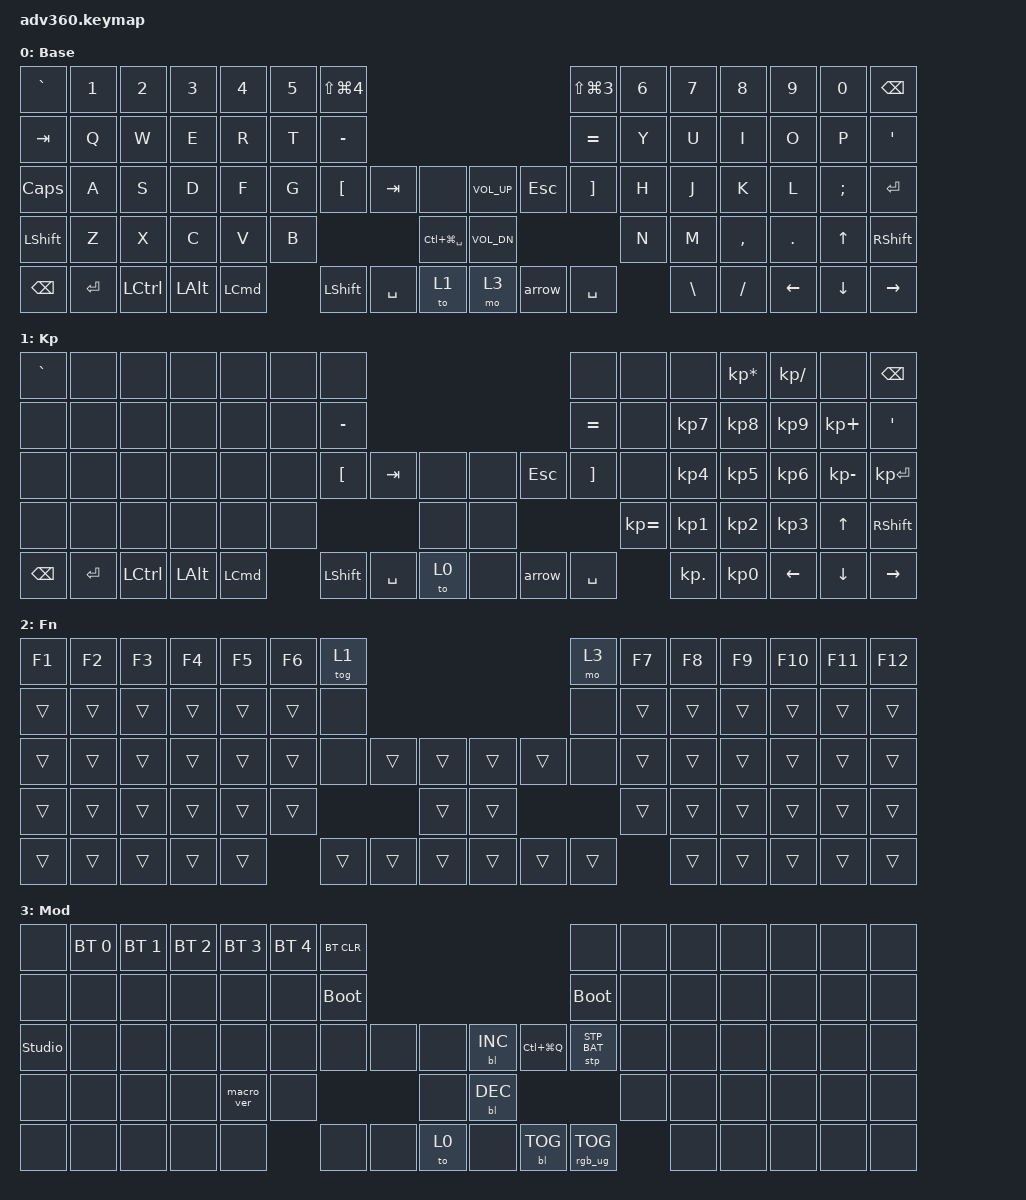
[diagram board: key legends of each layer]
#include <dt-bindings/zmk/stp.h>
#include <behaviors.dtsi>
#include <dt-bindings/zmk/backlight.h>
#include <dt-bindings/zmk/bt.h>
#include <dt-bindings/zmk/keys.h>
#include <dt-bindings/zmk/rgb.h>

/ {
    behaviors {
        #include "macros.dtsi"
      #include "version.dtsi"

        hm: homerow_mods {
            compatible = "zmk,behavior-hold-tap";
            label = "HOMEROW_MODS";
            #binding-cells = <2>;
            tapping-term-ms = <200>;
            quick_tap_ms = <175>;
            flavor = "tap-preferred";
            bindings = <&kp>, <&kp>;
        };
    };

    macros {
        arrow: new_macro {
            compatible = "zmk,behavior-macro";
            #binding-cells = <0>;
            bindings = <&kp MINUS &kp MINUS &kp GT &kp SPACE>;
            label = "NEW_MACRO";
        };
    };

    keymap {
        compatible = "zmk,keymap";

        default_layer {
            display-name = "Base";
            bindings = <
&kp GRAVE      &kp N1     &kp N2            &kp N3        &kp N4            &kp N5  &kp LS(LG(N4))                                                                &kp LS(LG(N3))     &kp N6  &kp N7         &kp N8     &kp N9    &kp N0          &kp BACKSPACE
&kp TAB        &kp Q      &kp W             &kp E         &kp R             &kp T   &kp MINUS                                                                     &kp EQUAL          &kp Y   &kp U          &kp I      &kp O     &kp P           &kp SQT
&kp CAPS       &kp A      &kp S             &kp D         &kp F             &kp G   &kp LEFT_BRACKET  &kp TAB    &none                  &kp C_VOLUME_UP  &kp ESC  &kp RIGHT_BRACKET  &kp H   &kp J          &kp K      &kp L     &kp SEMI        &kp ENTER
&kp LSHFT      &kp Z      &kp X             &kp C         &kp V             &kp B                                &kp LC(LG(SPACE))      &kp C_VOL_DN                                 &kp N   &kp M          &kp COMMA  &kp DOT   &kp UP_ARROW    &kp RSHFT
&kp BACKSPACE  &kp ENTER  &kp LEFT_CONTROL  &kp LEFT_ALT  &kp LEFT_COMMAND          &kp LEFT_SHIFT    &kp SPACE  &to 1                  &mo 3            &arrow   &kp SPACE                  &kp BACKSLASH  &kp SLASH  &kp LEFT  &kp DOWN_ARROW  &kp RIGHT
            >;
        };

        keypad {
            display-name = "Kp";
            bindings = <
&kp GRAVE      &none      &none             &none         &none             &none  &none                                                   &none              &none         &none       &kp KP_MULTIPLY  &kp KP_DIVIDE  &none         &kp BACKSPACE
&none          &none      &none             &none         &none             &none  &kp MINUS                                               &kp EQUAL          &none         &kp KP_N7   &kp KP_N8        &kp KP_N9      &kp KP_PLUS   &kp SQT
&none          &none      &none             &none         &none             &none  &kp LEFT_BRACKET  &kp TAB    &none      &none  &kp ESC  &kp RIGHT_BRACKET  &none         &kp KP_N4   &kp KP_N5        &kp KP_N6      &kp KP_MINUS  &kp KP_ENTER
&none          &none      &none             &none         &none             &none                               &none      &none                              &kp KP_EQUAL  &kp KP_N1   &kp KP_N2        &kp KP_N3      &kp UP_ARROW  &kp RSHFT
&kp BACKSPACE  &kp ENTER  &kp LEFT_CONTROL  &kp LEFT_ALT  &kp LEFT_COMMAND         &kp LEFT_SHIFT    &kp SPACE  &to 0      &none  &arrow   &kp SPACE                        &kp KP_DOT  &kp KP_NUMBER_0  &kp LEFT       &kp DOWN      &kp RIGHT
            >;
        };

        fn {
            display-name = "Fn";
            bindings = <
&kp F1  &kp F2  &kp F3  &kp F4  &kp F5  &kp F6  &tog 1                                      &mo 3   &kp F7  &kp F8  &kp F9  &kp F10  &kp F11  &kp F12
&trans  &trans  &trans  &trans  &trans  &trans  &none                                       &none   &trans  &trans  &trans  &trans   &trans   &trans
&trans  &trans  &trans  &trans  &trans  &trans  &none   &trans  &trans      &trans  &trans  &none   &trans  &trans  &trans  &trans   &trans   &trans
&trans  &trans  &trans  &trans  &trans  &trans                  &trans      &trans                  &trans  &trans  &trans  &trans   &trans   &trans
&trans  &trans  &trans  &trans  &trans          &trans  &trans  &trans      &trans  &trans  &trans          &trans  &trans  &trans   &trans   &trans
            >;
        };

        mod {
            display-name = "Mod";
            bindings = <
&none           &bt BT_SEL 0  &bt BT_SEL 1  &bt BT_SEL 2  &bt BT_SEL 3  &bt BT_SEL 4  &bt BT_CLR                                                &none            &none  &none  &none  &none  &none  &none
&none           &none         &none         &none         &none         &none         &bootloader                                               &bootloader      &none  &none  &none  &none  &none  &none
&studio_unlock  &none         &none         &none         &none         &none         &none        &none  &none      &bl BL_INC  &kp LC(LG(Q))  &stp STP_BAT     &none  &none  &none  &none  &none  &none
&none           &none         &none         &none         &macro_ver    &none                             &none      &bl BL_DEC                                  &none  &none  &none  &none  &none  &none
&none           &none         &none         &none         &none                       &none        &none  &to 0      &none       &bl BL_TOG     &rgb_ug RGB_TOG         &none  &none  &none  &none  &none
            >;
        };
    };
};
